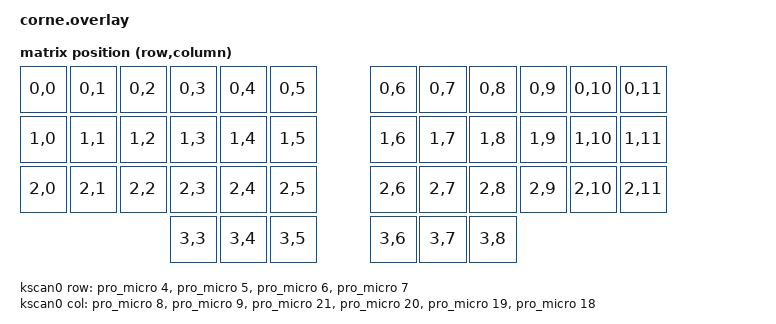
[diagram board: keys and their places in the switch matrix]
/*
 * Copyright (c) 2020 The ZMK Contributors
 *
 * SPDX-License-Identifier: MIT
 */

#include <dt-bindings/zmk/matrix_transform.h>

/ {
    chosen {
        zmk,kscan = &kscan0;
        zmk,matrix-transform = &default_transform;
    };

    default_transform: keymap_transform_0 {
        compatible = "zmk,matrix-transform";
        columns = <12>;
        rows = <4>;
        map = <
RC(0,0) RC(0,1) RC(0,2) RC(0,3) RC(0,4) RC(0,5)  RC(0,6) RC(0,7) RC(0,8) RC(0,9) RC(0,10) RC(0,11)
RC(1,0) RC(1,1) RC(1,2) RC(1,3) RC(1,4) RC(1,5)  RC(1,6) RC(1,7) RC(1,8) RC(1,9) RC(1,10) RC(1,11)
RC(2,0) RC(2,1) RC(2,2) RC(2,3) RC(2,4) RC(2,5)  RC(2,6) RC(2,7) RC(2,8) RC(2,9) RC(2,10) RC(2,11)
                        RC(3,3) RC(3,4) RC(3,5)  RC(3,6) RC(3,7) RC(3,8)
        >;
    };

    kscan0: kscan {
        compatible = "zmk,kscan-gpio-matrix";
        diode-direction = "col2row";
        wakeup-source;

        row-gpios
            = <&pro_micro 4 (GPIO_ACTIVE_HIGH | GPIO_PULL_DOWN)>
            , <&pro_micro 5 (GPIO_ACTIVE_HIGH | GPIO_PULL_DOWN)>
            , <&pro_micro 6 (GPIO_ACTIVE_HIGH | GPIO_PULL_DOWN)>
            , <&pro_micro 7 (GPIO_ACTIVE_HIGH | GPIO_PULL_DOWN)>
            ;

        col-gpios
            = <&pro_micro 8 GPIO_ACTIVE_HIGH>
            , <&pro_micro 9 GPIO_ACTIVE_HIGH>
            , <&pro_micro 21 GPIO_ACTIVE_HIGH>
            , <&pro_micro 20 GPIO_ACTIVE_HIGH>
            , <&pro_micro 19 GPIO_ACTIVE_HIGH>
            , <&pro_micro 18 GPIO_ACTIVE_HIGH>
            ;
    };
};

// Cirque trackpad configuration for I2C
&pro_micro_i2c {
    status = "okay";
    
    trackpad: trackpad@2a {
        compatible = "cirque,pinnacle";
        reg = <0x2a>;
        status = "okay";
        dr-gpios = <&pro_micro 15 (GPIO_ACTIVE_HIGH)>;
        
        // Trackpad sensitivity settings
        sensitivity = "2x";
        sleep-enable;
        no-taps;
    };
};

// Input listener for trackpad events
/ {
    trackpad_listener {
        compatible = "zmk,input-listener";
        device = <&trackpad>;
        
        // Input processors for transforming trackpad data
        input-processors = <&zip_xy_to_hid_input>;
    };
    
    zip_xy_to_hid_input: zip_xy_to_hid_input {
        compatible = "zmk,input-processor-transform";
        #input-processor-cells = <0>;
        type = <INPUT_EV_REL>;
        codes = <INPUT_REL_X INPUT_REL_Y>;
        transform = <(-1) 0 0 0 (-1) 0>;
    };
};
